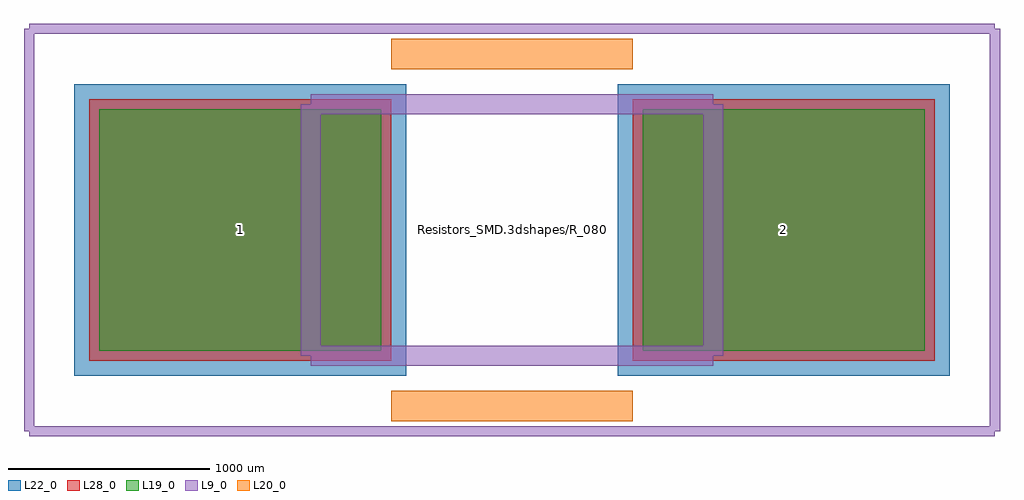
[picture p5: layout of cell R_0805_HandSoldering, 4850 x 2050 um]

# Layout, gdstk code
import gdstk
lib = gdstk.Library(unit=1e-6, precision=1e-09)
def R(c, l, rs):  # rectangles x0, y0, x1, y1
    for r in rs: c.add(gdstk.rectangle(r[:2], r[2:], *l))
L9_0 = (9, 0)
L19_0 = (19, 0)
L20_0 = (20, 0)
L22_0 = (22, 0)
L28_0 = (28, 0)

r_0805_handsoldering = lib.new_cell('R_0805_HandSoldering')
R(r_0805_handsoldering, L19_0, [(-2050,-600,-650,600), (650,-600,2050,600)])
R(r_0805_handsoldering, L22_0, [(-2175,-725,-525,725), (525,-725,2175,725)])
R(r_0805_handsoldering, L28_0, [(-2100,-650,-600,650), (600,-650,2100,650)])
r_0805_handsoldering.add(gdstk.FlexPath([(-600,875),(600,875)], 149.998, ends="flush", simple_path=True, layer=20, datatype=0))  # L20_0
r_0805_handsoldering.add(gdstk.FlexPath([(600,-875),(-600,-875)], 149.998, ends="flush", simple_path=True, layer=20, datatype=0))  # L20_0
r_0805_handsoldering.add(gdstk.FlexPath([(2400,1000),(2400,-1000)], 50, ends="flush", simple_path=True, layer=9, datatype=0))  # L9_0
r_0805_handsoldering.add(gdstk.FlexPath([(-2400,1000),(-2400,-1000)], 50, ends="flush", simple_path=True, layer=9, datatype=0))  # L9_0
r_0805_handsoldering.add(gdstk.FlexPath([(-2400,-1000),(2400,-1000)], 50, ends="flush", simple_path=True, layer=9, datatype=0))  # L9_0
r_0805_handsoldering.add(gdstk.FlexPath([(-2400,1000),(2400,1000)], 50, ends="flush", simple_path=True, layer=9, datatype=0))  # L9_0
r_0805_handsoldering.add(gdstk.FlexPath([(-1000,625),(1000,625)], 100, ends="flush", simple_path=True, layer=9, datatype=0))  # L9_0
r_0805_handsoldering.add(gdstk.FlexPath([(1000,625),(1000,-625)], 100, ends="flush", simple_path=True, layer=9, datatype=0))  # L9_0
r_0805_handsoldering.add(gdstk.FlexPath([(1000,-625),(-1000,-625)], 100, ends="flush", simple_path=True, layer=9, datatype=0))  # L9_0
r_0805_handsoldering.add(gdstk.FlexPath([(-1000,-625),(-1000,625)], 100, ends="flush", simple_path=True, layer=9, datatype=0))  # L9_0
r_0805_handsoldering.add(gdstk.Label('Resistors_SMD.3dshapes/R_0805_HandSoldering.wrl', (0,0), layer=12, texttype=0))
r_0805_handsoldering.add(gdstk.Label('2', (1350,0), layer=28, texttype=0))
r_0805_handsoldering.add(gdstk.Label('1', (-1350,0), layer=28, texttype=0))
r_0805_handsoldering.add(gdstk.Label('type', (0,-2100), layer=9, texttype=0))
r_0805_handsoldering.add(gdstk.Label('devicename', (0,2100), layer=9, texttype=0))

lib.write_gds('R_0805_HandSoldering.gds')
